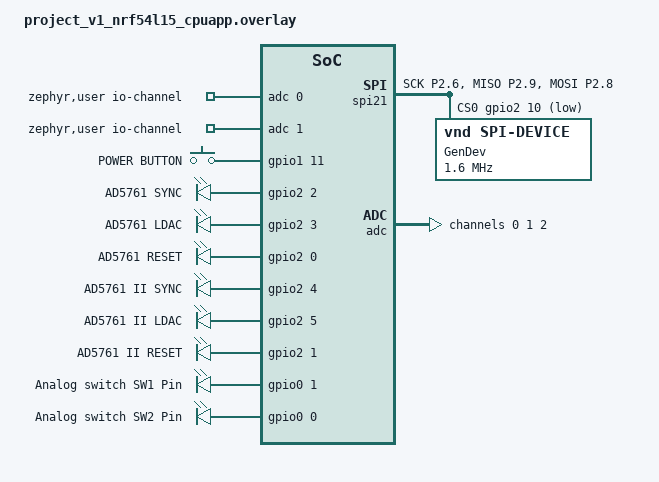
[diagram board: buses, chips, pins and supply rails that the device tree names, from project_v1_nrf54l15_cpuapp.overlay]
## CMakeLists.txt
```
cmake_minimum_required(VERSION 3.20.0)
find_package(Zephyr REQUIRED HINTS $ENV{ZEPHYR_BASE})

project(xiao_ads1220)

target_sources(app PRIVATE src/main.c)

zephyr_library_sources(src/ads1220.c)
```

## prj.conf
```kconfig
CONFIG_SPI=y
CONFIG_GPIO=y
CONFIG_CBPRINTF_FP_SUPPORT=y   # only if you printk/printf floats
```

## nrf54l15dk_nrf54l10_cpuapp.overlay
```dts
/ {
	leds {
		led_00: led00 {
			gpios = <&gpio0 0 GPIO_ACTIVE_HIGH>;
			label = "LED 00";
		};

		led_01: led01 {
			gpios = <&gpio0 1 GPIO_ACTIVE_HIGH>;
			label = "LED 01";
		};
	};
};

&pinctrl {
	i2c1_default: i2c1_default {
		group1 {
			psels = <NRF_PSEL(TWIM_SDA, 1, 12)>,
				<NRF_PSEL(TWIM_SCL, 1, 11)>;
		};
	};

	i2c1_sleep: i2c1_sleep {
		group1 {
			psels = <NRF_PSEL(TWIM_SDA, 1, 12)>,
				<NRF_PSEL(TWIM_SCL, 1, 11)>;
			low-power-enable;
		};
	};
};

/ {
	aliases {
		i2c1 = &i2c20;  // Creating an alias for easy referencing if needed
	};
};

/* Enable I2C and configure pins */
&i2c20 {
	compatible = "nordic,nrf-twim";
	status = "okay";
	clock-frequency = <100000>;  // 100kHz standard clock frequency
	pinctrl-0 = <&i2c1_default>;
	pinctrl-1 = <&i2c1_sleep>;
	pinctrl-names = "default", "sleep";

	lmp91000: lmp91000@48 {
		compatible = "i2c-device";
		reg = <0x48>;
	};
};

&spi20 {
	status = "disabled";
};

&uart20 {
	status = "disabled";
};
```

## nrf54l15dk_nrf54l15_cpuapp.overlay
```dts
/ {
	zephyr,user {
		io-channels = <&adc 0>, <&adc 1>;
	};

	aliases {
		spi-controller = &spi21;
	};
	
	leds {
        ad5761_sync: ad5761sync {
            gpios = <&gpio1 11 GPIO_ACTIVE_HIGH>;
            label = "AD5761 SYNC";
        };

		ad5761_ldac: ad5761ldac {
            gpios = <&gpio1 9 GPIO_ACTIVE_HIGH>;
            label = "AD5761 LDAC";
		};

		ad5761_reset: ad5761reset {
            gpios = <&gpio1 10 GPIO_ACTIVE_HIGH>;
            label = "AD5761 RESET";
		};

		ad5761_sync_ii: ad5761sync_ii {
            gpios = <&gpio0 2 GPIO_ACTIVE_HIGH>;
            label = "AD5761 II SYNC";
        };

		ad5761_ldac_ii: ad5761ldac_ii {
            gpios = <&gpio0 3 GPIO_ACTIVE_HIGH>;
            label = "AD5761 II LDAC";
		};

		ad5761_reset_ii: ad5761reset_ii {
            gpios = <&gpio0 4 GPIO_ACTIVE_HIGH>;
            label = "AD5761 II RESET";
		};
    };
};

&led0 {
	status = "disabled";
};

&led1 {
	status = "disabled";
};

&button0 {
	status = "disabled";
};

// &button3 {
// 	status = "disabled";
// };

&pinctrl {
	spi21_default: spi21_default {
		group1 {
			psels = <NRF_PSEL(SPIM_SCK, 2, 6)>,
					<NRF_PSEL(SPIM_MISO, 2, 9)>,
					<NRF_PSEL(SPIM_MOSI, 2, 8)>;
		};
	};

	spi21_sleep: spi21_sleep {
		group1 {
			psels = <NRF_PSEL(SPIM_SCK, 2, 6)>;
		};
	};
};

&spi21 {
	compatible = "nordic,nrf-spim";
	status = "okay";
	pinctrl-0 = <&spi21_default>;
	pinctrl-1 = <&spi21_sleep>;
	pinctrl-names = "default", "sleep";
	cs-gpios = <&gpio2 10 GPIO_ACTIVE_LOW>;

	gendev: gendev@0 {
		compatible = "vnd,spi-device";
		reg = <0>;
		spi-max-frequency = <1600000>;
		label = "GenDev";
	};
};

&adc {
	#address-cells = <1>;
	#size-cells = <0>;
    status = "okay";

    // Drain voltage VDS
    channel@0 {
		reg = <0>;
		zephyr,gain = "ADC_GAIN_1_4";
		zephyr,reference = "ADC_REF_EXTERNAL0";
		zephyr,acquisition-time = <ADC_ACQ_TIME_DEFAULT>;
		zephyr,input-positive = <NRF_SAADC_AIN7>;	/* P1.14 */
		// zephyr,input-negative = <NRF_SAADC_AIN2>;	/* P1.06 */
		zephyr,resolution = <12>;
	};

    // Transimpedance ID to voltage
    channel@1 {
        reg = <1>;
        zephyr,gain = "ADC_GAIN_1_4";
        zephyr,reference = "ADC_REF_EXTERNAL0";
        zephyr,acquisition-time = <ADC_ACQ_TIME_DEFAULT>;
        zephyr,input-positive = <NRF_SAADC_AIN6>;       /* P1.13 */
        zephyr,resolution = <12>;
    };

    // Battery sense
    channel@2 {
        reg = <2>;
        zephyr,gain = "ADC_GAIN_1_4";
        zephyr,reference = "ADC_REF_EXTERNAL0";
        zephyr,acquisition-time = <ADC_ACQ_TIME_DEFAULT>;
        zephyr,input-positive = <NRF_SAADC_AIN5>;    /* P1.12 */
        zephyr,resolution = <12>;
    };
};

// &uart20 {
// 	status = "disabled";
// };

// &spi00 {
// 	status = "disabled";
// };
```

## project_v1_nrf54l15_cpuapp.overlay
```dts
/ {
	zephyr,user {
		io-channels = <&adc 0>, <&adc 1>;
	};

	aliases {
		spi-controller = &spi21;
	};

	buttons {
		power_button: powerbutton {
			gpios = <&gpio1 11 GPIO_ACTIVE_HIGH>;
			label = "POWER BUTTON";
		};
	};
	
	leds {
        ad5761_sync: ad5761sync {
            gpios = <&gpio2 2 GPIO_ACTIVE_HIGH>;
            label = "AD5761 SYNC";
        };

		ad5761_ldac: ad5761ldac {
            gpios = <&gpio2 3 GPIO_ACTIVE_HIGH>;
            label = "AD5761 LDAC";
		};

		ad5761_reset: ad5761reset {
            gpios = <&gpio2 0 GPIO_ACTIVE_HIGH>;
            label = "AD5761 RESET";
		};

		ad5761_sync_ii: ad5761sync_ii {
            gpios = <&gpio2 4 GPIO_ACTIVE_HIGH>;
            label = "AD5761 II SYNC";
        };

		ad5761_ldac_ii: ad5761ldac_ii {
            gpios = <&gpio2 5 GPIO_ACTIVE_HIGH>;
            label = "AD5761 II LDAC";
		};

		ad5761_reset_ii: ad5761reset_ii {
            gpios = <&gpio2 1 GPIO_ACTIVE_HIGH>;
            label = "AD5761 II RESET";
		};

		sw_in_1: sw_in1 {
			gpios = <&gpio0 1 GPIO_ACTIVE_HIGH>;
			label = "Analog switch SW1 Pin";
		};

		sw_in_2: sw_in2 {
			gpios = <&gpio0 0 GPIO_ACTIVE_HIGH>;
			label = "Analog switch SW2 Pin";
		};
    };
};

&led0 {
	status = "disabled";
};

&led1 {
	status = "disabled";
};

&led2 {
	status = "disabled";
};

&led3 {
	status = "disabled";
};

&button0 {
	status = "disabled";
};

&button1 {
	status = "disabled";
};

&button2 {
	status = "disabled";
};

&button3 {
	status = "disabled";
};

&pinctrl {
	spi21_default: spi21_default {
		group1 {
			psels = <NRF_PSEL(SPIM_SCK, 2, 6)>,
					<NRF_PSEL(SPIM_MISO, 2, 9)>,
					<NRF_PSEL(SPIM_MOSI, 2, 8)>;
		};
	};

	spi21_sleep: spi21_sleep {
		group1 {
			psels = <NRF_PSEL(SPIM_SCK, 2, 6)>;
		};
	};
};

&spi21 {
	compatible = "nordic,nrf-spim";
	status = "okay";
	pinctrl-0 = <&spi21_default>;
	pinctrl-1 = <&spi21_sleep>;
	pinctrl-names = "default", "sleep";
	cs-gpios = <&gpio2 10 GPIO_ACTIVE_LOW>;

	gendev: gendev@0 {
		compatible = "vnd,spi-device";
		reg = <0>;
		spi-max-frequency = <1600000>;
		label = "GenDev";
	};
};

&adc {
	#address-cells = <1>;
	#size-cells = <0>;
    status = "okay";

    // Ids
    channel@0 {
		reg = <0>;
		zephyr,gain = "ADC_GAIN_1_4";
		zephyr,reference = "ADC_REF_EXTERNAL0";
		zephyr,acquisition-time = <ADC_ACQ_TIME_DEFAULT>;
		zephyr,input-positive = <NRF_SAADC_AIN6>;	/* P1.13 */
		// zephyr,input-negative = <NRF_SAADC_AIN2>;	/* P1.06 */
		zephyr,resolution = <12>;
	};

    // Drain Voltage VD
    channel@1 {
        reg = <1>;
        zephyr,gain = "ADC_GAIN_1_4";
        zephyr,reference = "ADC_REF_EXTERNAL0";
        zephyr,acquisition-time = <ADC_ACQ_TIME_DEFAULT>;
        zephyr,input-positive = <NRF_SAADC_AIN5>;       /* P1.12 */
        zephyr,resolution = <12>;
    };

    // Gate Voltage VG
    channel@2 {
        reg = <2>;
        zephyr,gain = "ADC_GAIN_1_4";
        zephyr,reference = "ADC_REF_EXTERNAL0";
        zephyr,acquisition-time = <ADC_ACQ_TIME_DEFAULT>;
        zephyr,input-positive = <NRF_SAADC_AIN7>;    /* P1.14 */
        zephyr,resolution = <12>;
    };
};

// &uart20 {
// 	status = "disabled";
// };

&spi00 {
	status = "disabled";
};
```

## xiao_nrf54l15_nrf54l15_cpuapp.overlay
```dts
/* For more help, browse the devicetree documentation at https://docs.zephyrproject.org/latest/build/dts/index.html
 * You can also visit the nRF DeviceTree extension documentation at https://docs.nordicsemi.com/bundle/nrf-connect-vscode/page/guides/ncs_configure_app.html#devicetree-support-in-the-extension
 */

&spi00 {
    status = "okay";
    cs-gpios = <&gpio2 8 GPIO_ACTIVE_LOW>;

    ads1220: ads1220@0 {
        compatible = "ti,ads1220";
        reg = <0>;
        spi-max-frequency = <4000000>;
        drdy-gpios = <&gpio1 10 GPIO_ACTIVE_LOW>;
    };
};

&uart21 {
	status = "disabled";
};

&i2c22 {
	status = "disabled";
};

&gpiote20 {
	status = "okay";
};
```

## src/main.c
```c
/*
 * Copyright (c) 2016 Intel Corporation
 *
 * SPDX-License-Identifier: Apache-2.0
 */

#include <stdio.h>
#include <zephyr/kernel.h>
#include <zephyr/drivers/gpio.h>
#include "ads1220.h"

/* 1000 msec = 1 sec */
#define SLEEP_TIME_MS   200

/* The devicetree node identifier for the "led0" alias. */
#define LED0_NODE DT_ALIAS(led0)

static const struct gpio_dt_spec led = GPIO_DT_SPEC_GET(LED0_NODE, gpios);

static struct ads1220 adc = ADS1220_DT_SPEC_GET(DT_NODELABEL(ads1220));

// static struct spi_dt_spec spispec = SPI_DT_SPEC_GET(DT_NODELABEL(ads1220), ADS1220_SPI_OPERATION, 0);
// uint8_t ctrl;

// uint8_t tx_buffer[3] = {0x00, 0x00, 0x00};
// uint8_t rx_buffer[3];

// void spi_readback_register(uint8_t address){
//     struct spi_buf tx_spi_buf		= {.buf = tx_buffer, .len = 3};
//     struct spi_buf_set tx_spi_buf_set 	= {.buffers = &tx_spi_buf, .count = 1};
//     struct spi_buf rx_spi_bufs 		= {.buf = rx_buffer, .len = 3};
//     struct spi_buf_set rx_spi_buf_set	= {.buffers = &rx_spi_bufs, .count = 1};
    
//     tx_buffer[0] = address;
//     tx_buffer[1] = 0x00;
//     tx_buffer[2] = 0x00;

//     int err;

//     printk("--------");
//     printk("Start reading back address: 0x%02X\n", address);

//     err = spi_write_dt(&spispec, &tx_spi_buf_set);
//     err = spi_read_dt(&spispec, &rx_spi_buf_set);
//     printk("SPI transmitted! Received: 0x%02X\t0x%02X\t0x%02X\n", rx_buffer[0], rx_buffer[1], rx_buffer[2]);
// }

int main(void)
{
        int ret;
        bool led_state = true;

        if (!gpio_is_ready_dt(&led)) {
        return 0;
        }

        ret = gpio_pin_configure_dt(&led, GPIO_OUTPUT_ACTIVE);
        if (ret < 0) {
        return 0;
        }

        ret = ads1220_init(&adc);
 
	if (ret != 0) {
		printf("ADS1220 init failed: %d\n", ret);
		return 0;
	}

        ads1220_set_compare_channels(&adc, ADS1220_MUX_0_1);  /* AIN0 - AIN1 */
	ads1220_set_gain(&adc, ADS1220_GAIN_1);
	ads1220_set_data_rate(&adc, ADS1220_DR_LVL_0);        /* 20 SPS in normal mode */

        while (1) {
                int32_t raw;
		float mv;

                ret = ads1220_get_raw_data(&adc, &raw);
		if (ret == 0) {
			ret = ads1220_get_voltage_mv(&adc, &mv);
		}
 
		if (ret == 0) {
			printf("raw: %d  voltage: %.4f mV\n", raw, (double)mv);
		} else {
			printf("read error: %d\n", ret);
		}

                // read_reg(&adc, ADS1220_REG_1, &ctrl);
                // printf("Read register data: 0x%02X\t\t", ctrl);

                ret = gpio_pin_toggle_dt(&led);
                if (ret < 0) {
                return 0;
                }

                led_state = !led_state;
                printf("LED state: %s\n", led_state ? "ON" : "OFF");

                k_msleep(SLEEP_TIME_MS);
        }
        return 0;
}
```

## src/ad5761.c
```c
#include "ad5761.h"
#include "adc.h"
#include <zephyr/kernel.h>
#include <stdio.h>

/*
    SPI_MODE_CPHA: set clock phase, in order to sync correct CLK sequence

*/

#define SPIOP       SPI_MODE_CPHA | SPI_WORD_SET(8) | SPI_TRANSFER_MSB
// #define AD5761_SYNC_NODE        DT_NODELABEL(ad5761_sync)
// #define AD5761_LDAC_NODE        DT_NODELABEL(ad5761_ldac)
// #define AD5761_RESET_NODE       DT_NODELABEL(ad5761_reset)
// //#define AD5761_ALERT_NODE     DT_NODELABEL
// //#define AD5761_CLEAR_NODE     DT_NODELABEL
// #define AD5761_SYNC_NODE_II     DT_NODELABEL(ad5761_sync_ii)
// #define AD5761_LDAC_NODE_II     DT_NODELABEL(ad5761_ldac_ii)

struct spi_dt_spec spispec = SPI_DT_SPEC_GET(DT_NODELABEL(gendev), SPIOP, 0);

uint8_t tx_buffer[3] = {0x00, 0x00, 0x00};
uint8_t rx_buffer[3];

uint16_t dac_value_dummy;

// struct spi_buf tx_spi_buf		= {.buf = (void *)&tx_buffer, .len = 1};
struct spi_buf tx_spi_buf		= {.buf = tx_buffer, .len = sizeof(tx_buffer)};
struct spi_buf_set tx_spi_buf_set 	= {.buffers = &tx_spi_buf, .count = 1};
struct spi_buf rx_spi_bufs 		= {.buf = rx_buffer, .len = sizeof(rx_buffer)};
struct spi_buf_set rx_spi_buf_set	= {.buffers = &rx_spi_bufs, .count = 1};

// static const struct gpio_dt_spec ad5761_sync_spec = GPIO_DT_SPEC_GET(AD5761_SYNC_NODE, gpios);
// static const struct gpio_dt_spec ad5761_ldac_spec = GPIO_DT_SPEC_GET(AD5761_LDAC_NODE, gpios);
// static const struct gpio_dt_spec ad5761_reset_spec = GPIO_DT_SPEC_GET(AD5761_RESET_NODE, gpios);

// static const struct gpio_dt_spec ad5761_sync_spec_ii = GPIO_DT_SPEC_GET(AD5761_SYNC_NODE_II, gpios);
// static const struct gpio_dt_spec ad5761_ldac_spec_ii = GPIO_DT_SPEC_GET(AD5761_LDAC_NODE_II, gpios);

// static const struct ad5761_device_str ad5761_dev_i = {
//     .sync_pin = ad5761_sync_spec,
//     .ldac_pin = ad5761_ldac_spec,
//     .reset_pin = ad5761_reset_spec
// };

void ad5761_init(const struct ad5761_device_str *ad5761_dev){
    // gpio_pin_configure_dt(&ad5761_sync_spec, GPIO_OUTPUT);
    // gpio_pin_configure_dt(&ad5761_ldac_spec, GPIO_OUTPUT);
    // gpio_pin_configure_dt(&ad5761_reset_spec, GPIO_OUTPUT);
    gpio_pin_configure_dt(&ad5761_dev->sync_pin, GPIO_OUTPUT);
    gpio_pin_configure_dt(&ad5761_dev->ldac_pin, GPIO_OUTPUT);
    gpio_pin_configure_dt(&ad5761_dev->reset_pin, GPIO_OUTPUT);

    gpio_pin_set_dt(&ad5761_dev->ldac_pin, 1);
    gpio_pin_set_dt(&ad5761_dev->reset_pin, 1);
    printk("DAC init!\n");
}

void ad5761_ldac_update(const struct ad5761_device_str *ad5761_dev){
    gpio_pin_set_dt(&ad5761_dev->ldac_pin, 0);
    k_busy_wait(1);
    gpio_pin_set_dt(&ad5761_dev->ldac_pin, 1);
}

// void ad5761_reset(){
//     gpio_pin_set_dt(&ad5761_reset_spec, 0);
//     k_busy_wait(1);
//     gpio_pin_set_dt(&ad5761_reset_spec, 1);
// }

/*
    Should not initialize a communication longer than 20 SCLKs
    Because continuous SCLKs is limited (cannot config this...)

*/

void ad5761_readback_register(uint8_t address){
    struct spi_buf tx_spi_buf		= {.buf = tx_buffer, .len = 3};
    struct spi_buf_set tx_spi_buf_set 	= {.buffers = &tx_spi_buf, .count = 1};
    struct spi_buf rx_spi_bufs 		= {.buf = rx_buffer, .len = 3};
    struct spi_buf_set rx_spi_buf_set	= {.buffers = &rx_spi_bufs, .count = 1};
    
    tx_buffer[0] = address;
    tx_buffer[1] = 0x00;
    tx_buffer[2] = 0x00;

    int err;

    printk("--------");
    printk("Start reading back address: 0x%02X\n", address);

    err = spi_write_dt(&spispec, &tx_spi_buf_set);
    err = spi_read_dt(&spispec, &rx_spi_buf_set);
    printk("SPI transmitted! Received: 0x%02X\t0x%02X\t0x%02X\n", rx_buffer[0], rx_buffer[1], rx_buffer[2]);
}

void ad5761_two_cycle_write(uint8_t tx_data_0, uint8_t tx_data_1){
    struct spi_buf tx_spi_buf		= {.buf = tx_buffer, .len = 2};
    struct spi_buf_set tx_spi_buf_set 	= {.buffers = &tx_spi_buf, .count = 1};
    // struct spi_buf rx_spi_bufs 		= {.buf = rx_buffer, .len = 1};
    // struct spi_buf_set rx_spi_buf_set	= {.buffers = &rx_spi_bufs, .count = 1};

    int err;

    // tx_buffer[0] = (data >> 8) & 0xFF;  
    // tx_buffer[1] = data & 0xFF;  

    tx_buffer[0] = tx_data_0;  
    tx_buffer[1] = tx_data_1;  

    // printk("--------");
    // printk("Transmitted: 0x%02X\t0x%02X\n", tx_buffer[0], tx_buffer[1]);

    err = spi_write_dt(&spispec, &tx_spi_buf_set);

}

void ad5761_one_cycle_write(uint8_t data){
    struct spi_buf tx_spi_buf		= {.buf = tx_buffer, .len = 1};
    struct spi_buf_set tx_spi_buf_set 	= {.buffers = &tx_spi_buf, .count = 1};
    // struct spi_buf rx_spi_bufs 		= {.buf = rx_buffer, .len = 1};
    // struct spi_buf_set rx_spi_buf_set	= {.buffers = &rx_spi_bufs, .count = 1};

    int err;

    tx_buffer[0] = data;

    // printk("--------");
    // printk("Transmitted: 0x%02X\n", data);

    err = spi_write_dt(&spispec, &tx_spi_buf_set);

}

void ad5761_two_cycle_read(){
    // struct spi_buf tx_spi_buf		= {.buf = tx_buffer, .len = 1};
    // struct spi_buf_set tx_spi_buf_set 	= {.buffers = &tx_spi_buf, .count = 1};
    struct spi_buf rx_spi_bufs 		= {.buf = rx_buffer, .len = 2};
    struct spi_buf_set rx_spi_buf_set	= {.buffers = &rx_spi_bufs, .count = 1};

    int err;
    err = spi_read_dt(&spispec, &rx_spi_buf_set);

    printk("SPI transmitted! Received: 0x%02X\t0x%02X\n", rx_buffer[0], rx_buffer[1]);
    printk("\n");

}

void ad5761_one_cycle_read(){
    // struct spi_buf tx_spi_buf		= {.buf = tx_buffer, .len = 1};
    // struct spi_buf_set tx_spi_buf_set 	= {.buffers = &tx_spi_buf, .count = 1};
    struct spi_buf rx_spi_bufs 		= {.buf = rx_buffer, .len = 1};
    struct spi_buf_set rx_spi_buf_set	= {.buffers = &rx_spi_bufs, .count = 1};

    int err;
    err = spi_read_dt(&spispec, &rx_spi_buf_set);

    printk("SPI transmitted! Received: 0x%02X\n\n", rx_buffer[0]);
}

void ad5761_one_cycle(uint8_t data){
    struct spi_buf tx_spi_buf		= {.buf = tx_buffer, .len = 1};
    struct spi_buf_set tx_spi_buf_set 	= {.buffers = &tx_spi_buf, .count = 1};
    struct spi_buf rx_spi_bufs 		= {.buf = rx_buffer, .len = 1};
    struct spi_buf_set rx_spi_buf_set	= {.buffers = &rx_spi_bufs, .count = 1};

    int err;

    tx_buffer[0] = data;

    printk("--------");
    printk("Tranismitted: 0x%02X\n", data);

    err = spi_transceive_dt(&spispec, &tx_spi_buf_set, &rx_spi_buf_set);

    printk("SPI transmitted! Received: 0x%02X\n", rx_buffer[0]);
}  

//////// Readback format ////////
        /*
        4-bit:  ---0 (first 3-bit don't care)
        4-bit:  1010: Readback input register   (0x0A)
                1011: Readback DAC register     (0x0B)
                1100: Readback control register (0x0C)
        16-bit data: 0000 0000 (don't care)
        */

void ad5761_write_register(uint8_t address, uint16_t data){
    struct spi_buf tx_spi_buf		= {.buf = tx_buffer, .len = 3};
    struct spi_buf_set tx_spi_buf_set 	= {.buffers = &tx_spi_buf, .count = 1};

    tx_buffer[0] = address;
    tx_buffer[1] = (data >> 8) & 0xFF;  
    tx_buffer[2] = data & 0xFF;       

    int err;

    printk("--------");
    printk("Start writing address: 0x%02X\n", address);

    err = spi_write_dt(&spispec, &tx_spi_buf_set);
}

void ad5761_24bit_transceive(const struct ad5761_device_str *ad5761_dev, uint8_t tx_data_0, uint8_t tx_data_1, uint8_t tx_data_2){
    gpio_pin_set_dt(&ad5761_dev->sync_pin, 0);
    ad5761_one_cycle(tx_data_0);
    ad5761_one_cycle(tx_data_1);
    ad5761_one_cycle(tx_data_2);
    gpio_pin_set_dt(&ad5761_dev->sync_pin, 1);
}

void ad5761_24bit_read(const struct ad5761_device_str *ad5761_dev){
    gpio_pin_set_dt(&ad5761_dev->sync_pin, 0);
    ad5761_two_cycle_read();
    ad5761_one_cycle_read();
    gpio_pin_set_dt(&ad5761_dev->sync_pin, 1);
}

void ad5761_24bit_write(const struct ad5761_device_str *ad5761_dev, uint8_t tx_data_0, uint8_t tx_data_1, uint8_t tx_data_2){
    gpio_pin_set_dt(&ad5761_dev->sync_pin, 0);
    ad5761_two_cycle_write(tx_data_0, tx_data_1);
    ad5761_one_cycle_write(tx_data_2);
    gpio_pin_set_dt(&ad5761_dev->sync_pin, 1);
}

void ad5761_readback_input_register(const struct ad5761_device_str *ad5761_dev){
    ad5761_24bit_write(ad5761_dev, 0x0A, 0x00, 0x00);
    ad5761_24bit_read(ad5761_dev);
}

void ad5761_readback_DAC_register(const struct ad5761_device_str *ad5761_dev){
    ad5761_24bit_write(ad5761_dev, 0x0B, 0x00, 0x00);
    ad5761_24bit_read(ad5761_dev);
}

void ad5761_readback_control_register(const struct ad5761_device_str *ad5761_dev){
    ad5761_24bit_write(ad5761_dev, 0x0C, 0x00, 0x00);
    ad5761_24bit_read(ad5761_dev);
}

void ad5761_software_full_reset(const struct ad5761_device_str *ad5761_dev){
    ad5761_24bit_write(ad5761_dev, 0x0F, 0x00, 0x00);   // Software full reset
    // ad5761_24bit_write(ad5761_dev, 0x04, 0x00, 0xC3);   // Write to control register, B2C = 1, range 0 to +5V
    ad5761_24bit_write(ad5761_dev, 0x04, 0x00, 0xC2);   // Write to control register, B2C = 1, range -5V to +5V
    ad5761_generate_output_signal(ad5761_dev, 0);
}

double ad5761_convert_to_mV(uint16_t value, uint16_t vref_n_mV, uint16_t vref_p_mV){
    double dac_mV = (double)value/65536*(vref_p_mV - vref_n_mV);

    return dac_mV;
}

void ad5761_generate_output_signal(const struct ad5761_device_str *ad5761_dev, uint16_t value){
    uint8_t byte_0 = (value >> 8) & 0xFF;  
    uint8_t byte_1 = value & 0xFF;     

    ad5761_24bit_write(ad5761_dev, 0x01, byte_0, byte_1);
    ad5761_ldac_update(ad5761_dev);

    double dac_mV = ad5761_convert_to_mV(value, 0, 2620);
    // printk("DAC:\tChannel: %u\tSet value (mV): %.2f\n", ad5761_dev->channel, dac_mV);
    // printk("DAC:\tSet value: %u\n", value);
}

void ad5761_print_dac_value(const struct ad5761_device_str *ad5761_dev, uint16_t value){
    double dac_mV = ad5761_convert_to_mV(value, 0, 2620);
    printk("DAC:\tChannel: %u\tSet value (mV): %.2f\n", ad5761_dev->channel, dac_mV);
    printk("DAC:\tSet value: %u\n", value);
}

void ad5761_generate_triangular(const struct ad5761_device_str *ad5761_dev, uint16_t start_value, uint16_t stop_value, uint32_t delay_us, uint16_t step, bool cycle){  
    uint16_t value = start_value;
    if(start_value < stop_value){
        while(value < stop_value){
            ad5761_generate_output_signal(ad5761_dev, value);
            value += step;
            k_busy_wait(delay_us);
            // adc_read_channel_mV(0);         /* Put this in state machine */
            // adc_read_channel_mV(1);
            // adc_read_channel_mV(2);
        }

        if(cycle == 1){
            while(value > start_value){
                ad5761_generate_output_signal(ad5761_dev, value);
                value -= step;
            k_busy_wait(delay_us);
            // adc_read_channel_mV(0);         /* Put this in state machine */
            // adc_read_channel_mV(1);
            // adc_read_channel_mV(2);
            }
        }
    }

    if(start_value > stop_value){
        while(value > stop_value){
            ad5761_generate_output_signal(ad5761_dev, value);
            value -= step;
            k_busy_wait(delay_us);
        }

        if(cycle == 1){
            while(value < start_value){
                ad5761_generate_output_signal(ad5761_dev, value);
                value += step;
            k_busy_wait(delay_us);
            }
        }
    }
}

void ad5761_fsm_step_output(const struct ad5761_device_str *dev,
                struct dac_output_fsm *fsm)
{
    if (fsm->state != DAC_STATE_ON) {
        if(fsm->bipolar == false){
            fsm->value = 0;
        } else {
            fsm->value = 32768;
        }
        ad5761_generate_output_signal(dev, fsm->value);
        return;
    }

    ad5761_generate_output_signal(dev, fsm->value);

    fsm->value = fsm->start + fsm->step * fsm->cycle_counter;
    fsm->state = DAC_STATE_OFF;
}

void ad5761_fsm_step_triangle(const struct ad5761_device_str *dev,
                struct dac_fsm *fsm)
{
    if (fsm->state != DAC_STATE_ON) {
        if(fsm->bipolar == false){
            fsm->value = 0;
        } else {
            fsm->value = 32768;
        }

        ad5761_generate_output_signal(dev, fsm->value);
        return;
    }

    ad5761_generate_output_signal(dev, fsm->value);

    if (fsm->direction == DAC_DIR_UP) {
        if (fsm->value + fsm->step >= fsm->stop) {
            if (fsm->backward == true){
                fsm->value = fsm->stop;
                fsm->direction = DAC_DIR_DOWN;
            } else {
                fsm->value = fsm->start;
            }
        } else {
            fsm->value += fsm->step;
        }
    } else {
        if (fsm->value <= fsm->start + fsm->step) {
            // if (fsm->continuous) {
            if (fsm->cycle_counter < fsm->cycles - 1) {
                fsm->value = fsm->start;
                fsm->direction = DAC_DIR_UP;
                fsm->cycle_counter += 1;
            } else {
                fsm->state = DAC_STATE_OFF;
                fsm->cycle_counter = 0;
            }
        } else {
            fsm->value -= fsm->step;
        }
    }
}

void ad5761_fsm_oect_output_curve(const struct ad5761_device_str *dev_1, 
                struct dac_fsm *fsm_1,
                const struct ad5761_device_str *dev_2,
                struct dac_output_fsm *fsm_2)
{
    fsm_2->state = fsm_1->state;
    fsm_2->cycle_counter = fsm_1->cycle_counter;

    ad5761_fsm_step_triangle(dev_1, fsm_1);
    ad5761_fsm_step_output(dev_2, fsm_2);
}
```

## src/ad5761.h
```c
#ifndef AD5761_H
#define AD5761_H

#include <zephyr/device.h>
#include <zephyr/drivers/spi.h>
#include <zephyr/drivers/gpio.h>

#define AD5761_SYNC_NODE        DT_NODELABEL(ad5761_sync)
#define AD5761_LDAC_NODE        DT_NODELABEL(ad5761_ldac)
#define AD5761_RESET_NODE       DT_NODELABEL(ad5761_reset)
//#define AD5761_ALERT_NODE     DT_NODELABEL
//#define AD5761_CLEAR_NODE     DT_NODELABEL
#define AD5761_SYNC_NODE_II     DT_NODELABEL(ad5761_sync_ii)
#define AD5761_LDAC_NODE_II     DT_NODELABEL(ad5761_ldac_ii)

static const struct gpio_dt_spec ad5761_sync_spec = GPIO_DT_SPEC_GET(AD5761_SYNC_NODE, gpios);
static const struct gpio_dt_spec ad5761_ldac_spec = GPIO_DT_SPEC_GET(AD5761_LDAC_NODE, gpios);
static const struct gpio_dt_spec ad5761_reset_spec = GPIO_DT_SPEC_GET(AD5761_RESET_NODE, gpios);

static const struct gpio_dt_spec ad5761_sync_spec_ii = GPIO_DT_SPEC_GET(AD5761_SYNC_NODE_II, gpios);
static const struct gpio_dt_spec ad5761_ldac_spec_ii = GPIO_DT_SPEC_GET(AD5761_LDAC_NODE_II, gpios);

struct ad5761_device_str{
    struct gpio_dt_spec sync_pin;
    struct gpio_dt_spec ldac_pin;
    struct gpio_dt_spec reset_pin;
    uint8_t channel;
};

static const struct ad5761_device_str ad5761_dev_i = {
    .sync_pin = ad5761_sync_spec,
    .ldac_pin = ad5761_ldac_spec,
    .reset_pin = ad5761_reset_spec,
    .channel = 1,
};

static const struct ad5761_device_str ad5761_dev_ii = {
    .sync_pin = ad5761_sync_spec_ii,
    .ldac_pin = ad5761_ldac_spec_ii,
    .reset_pin = ad5761_reset_spec,
    .channel = 2,
};

typedef enum {
    DAC_STATE_ON,
    DAC_STATE_OFF,
} dac_state_t;

typedef enum {
    DAC_DIR_UP,
    DAC_DIR_DOWN,
} dac_dir_t;

struct dac_fsm {
    dac_state_t state;
    dac_dir_t direction;
    uint16_t value;
    uint16_t start;
    uint16_t stop;
    uint16_t step;
    bool continuous;
    uint16_t cycles;
    uint16_t cycle_counter;
    bool backward;
    bool bipolar;
};

struct dac_output_fsm {
    dac_state_t state;
    dac_dir_t direction;
    uint16_t value;
    uint16_t start;
    uint16_t stop;
    uint16_t step;
    uint16_t cycles;
    uint16_t cycle_counter;
    bool backward;
    bool bipolar;
};

void ad5761_init(const struct ad5761_device_str *ad5761_dev);
void ad5761_ldac_update(const struct ad5761_device_str *ad5761_dev);
void ad5761_reset(void);

void ad5761_readback_register(uint8_t address);
void ad5761_write_register(uint8_t address, uint16_t data);

void ad5761_readback_input_register(const struct ad5761_device_str *ad5761_dev);
void ad5761_readback_DAC_register(const struct ad5761_device_str *ad5761_dev);
void ad5761_readback_control_register(const struct ad5761_device_str *ad5761_dev);
void ad5761_software_full_reset(const struct ad5761_device_str *ad5761_dev);

void ad5761_one_cycle(uint8_t data);
void ad5761_one_cycle_write(uint8_t data);
void ad5761_one_cycle_read(void);
void ad5761_two_cycle_read(void);
void ad5761_two_cycle_write(uint8_t tx_data_0, uint8_t tx_data_1);

void ad5761_24bit_read(const struct ad5761_device_str *ad5761_dev);
void ad5761_24bit_write(const struct ad5761_device_str *ad5761_dev, uint8_t tx_data_0, uint8_t tx_data_1, uint8_t tx_data_2);
void ad5761_24bit_transceive(const struct ad5761_device_str *ad5761_dev, uint8_t tx_data_0, uint8_t tx_data_1, uint8_t tx_data_2);

void ad5761_generate_output_signal(const struct ad5761_device_str *ad5761_dev, uint16_t value);
void ad5761_generate_triangular(const struct ad5761_device_str *ad5761_dev, uint16_t start_value, uint16_t stop_value, uint32_t delay_us, uint16_t step, bool cycle);

void ad5761_print_dac_value(const struct ad5761_device_str *ad5761_dev, uint16_t value);

void ad5761_fsm_step_triangle(const struct ad5761_device_str *dev, struct dac_fsm *fsm);
void ad5761_fsm_step_output(const struct ad5761_device_str *dev, struct dac_output_fsm *fsm);
void ad5761_fsm_oect_output_curve(const struct ad5761_device_str *dev_1, 
                struct dac_fsm *fsm_1,
                const struct ad5761_device_str *dev_2,
                struct dac_output_fsm *fsm_2);
#endif // AD5761_H
```

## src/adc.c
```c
#include "adc.h"
#include <zephyr/kernel.h>
#include <zephyr/pm/device.h>
#include <stdio.h>

#define ADC_FAST
// #define ADC_OLD_VERSION

// Old version: SEQUENCE_SAMPLE = 1
#define SEQUENCE_SAMPLE     64
#define ADC_NODE            DT_NODELABEL(adc)
#define NUM_CHANNELS        3

float adc_average = 0.0f;
float adc_ch0_average = 0.0f;
float adc_ch1_average = 0.0f;
float adc_ch2_average = 0.0f;
int adc_mV;
int adc_ch0_mV;
int adc_ch1_mV;
int adc_ch2_mV;
uint16_t window_len = 1;

static const struct device *adc_dev = DEVICE_DT_GET(ADC_NODE);
static const struct adc_channel_cfg channel_cfgs[] = {
    DT_FOREACH_CHILD_SEP(ADC_NODE, ADC_CHANNEL_CFG_DT, (,))
};

// Old version: channel_reading[SEQUENCE_SAMPLE]
uint16_t channel_reading[SEQUENCE_SAMPLE][NUM_CHANNELS];

const struct adc_sequence_options options = {
		.extra_samplings = SEQUENCE_SAMPLE - 1,
		.interval_us = 0,
	};

struct adc_sequence sequence = {
    .buffer = channel_reading,
    .buffer_size = sizeof(channel_reading),
    .resolution = 12,
    // .channels = BIT(channel_cfgs[index].channel_id),
    // .channels = BIT(channel_cfgs[0].channel_id) | BIT(channel_cfgs[1].channel_id) | BIT(channel_cfgs[2].channel_id),
    .channels = BIT(0) | BIT(1) | BIT(2),
    .calibrate = true,
    .options = &options,
};

void adc_init(void) {
    int err;

    for (int i = 0; i < ARRAY_SIZE(channel_cfgs); i++) {
        err = adc_channel_setup(adc_dev, &channel_cfgs[i]);
        if (err < 0) {
            printk("ADC channel %d setup failed (%d)\n", i, err);
        }
    }

    if (!device_is_ready(adc_dev)) {
        printf("ADC controller device %s not ready\n", adc_dev->name);
        return;
    }
    printf("ADC initialized!\n");
}

#ifdef ADC_TEST_CODE
void adc_read_channels(void)
{
    int err;
    int16_t buffer[64 * 2]; // 2 channels

    struct adc_sequence sequence = {
        .buffer = buffer,
        .buffer_size = sizeof(buffer),
        .resolution = 12,
        .channels = BIT(CH0) | BIT(CH1),
    };

    err = adc_read(adc_dev, &sequence);
    if (err < 0) {
        printk("ADC read error (%d)\n", err);
        return;
    }

    uint32_t sum_ch0 = 0, sum_ch1 = 0;

    for (int i = 0; i < 64; i++) {
        sum_ch0 += buffer[2*i];
        sum_ch1 += buffer[2*i + 1];
    }

    adc_avg_ch0 = sum_ch0 / 64;
    adc_avg_ch1 = sum_ch1 / 64;
}
#endif

#ifdef ADC_FAST
void adc_read_channel(){
    int err;
    // uint32_t adc_sum = 0;
    uint32_t adc_ch0_sum = 0;
    uint32_t adc_ch1_sum = 0;
    uint32_t adc_ch2_sum = 0;

    // const struct adc_sequence_options options = {
	// 	.extra_samplings = SEQUENCE_SAMPLE - 1,
	// 	.interval_us = 0,
	// };

    // struct adc_sequence sequence = {
    //     .buffer = channel_reading,
    //     .buffer_size = sizeof(channel_reading),
    //     .resolution = 12,
    //     // .channels = BIT(channel_cfgs[index].channel_id),
    //     // .channels = BIT(channel_cfgs[0].channel_id) | BIT(channel_cfgs[1].channel_id) | BIT(channel_cfgs[2].channel_id),
    //     .channels = BIT(channel_cfgs[0].channel_id) | BIT(channel_cfgs[1].channel_id) | BIT(channel_cfgs[1].channel_id),
    //     .calibrate = true,
	// 	.options = &options,
    // };

    // for (int i = 0; i < ARRAY_SIZE(channel_cfgs); i++) {
    //     err = adc_channel_setup(adc_dev, &channel_cfgs[i]);
    //     if (err < 0) {
    //         printk("ADC channel %d setup failed (%d)\n", i, err);
    //     }
    // }

    err = adc_read(adc_dev, &sequence);

    for (int i = 0; i < SEQUENCE_SAMPLE; i++) {
        // adc_sum += channel_reading[i];
        adc_ch0_sum += channel_reading[i][0];
        adc_ch1_sum += channel_reading[i][1];
        adc_ch2_sum += channel_reading[i][2];
    }

    #ifdef DEBUG_ADC_PRINT
    printk("Channel config %u\n", channel_cfgs[0].channel_id);
    printk("Channel config %u\n", channel_cfgs[1].channel_id);
    printk("Channel config %u\n", channel_cfgs[2].channel_id);

    for (int i = 0; i < NUM_CHANNELS; i++) {
        for(int j = 0; j < SEQUENCE_SAMPLE; j++){
            printk("Index %u\t%u: %u \n", i, j, channel_reading[j][i]);
        }
    }
    printk("----------------------------\n");
    #endif

    // adc_average = (float)adc_sum / SEQUENCE_SAMPLE;
    adc_ch0_average = (float)adc_ch0_sum / SEQUENCE_SAMPLE;
    adc_ch1_average = (float)adc_ch1_sum / SEQUENCE_SAMPLE;
    adc_ch2_average = (float)adc_ch2_sum / SEQUENCE_SAMPLE;
}
#endif

#ifdef ADC_OLD_VERSION
/* Read channel by selecting index */
void adc_read_channel(uint8_t index){
    int err;
    uint32_t adc_sum = 0;
    uint16_t count_adc = 0;

    struct adc_sequence sequence = {
        .buffer = channel_reading,
        .buffer_size = sizeof(channel_reading),
        .resolution = 12,
        .channels = BIT(channel_cfgs[index].channel_id),
        .calibrate = true,
    };

    err = adc_channel_setup(adc_dev, &channel_cfgs[index]);
    if (err < 0) {
        printk("Could not setup channel %d (%d)\n", index, err);
        return;
    }

    while (count_adc < window_len) {
        err = adc_read(adc_dev, &sequence);
        if (err < 0) {
            printk("Could not read channel %d (%d)\n", index, err);
            continue;
        }
        adc_sum += channel_reading[0];
        count_adc++;
    }

    adc_average = (float)adc_sum / window_len;
}
#endif

// change adc to mVoltage
int adc_to_mV(float adc, uint8_t gain){
    int value;
    value = adc/4096*gain*0.9f*1000.0f;  // 0.9: external reference voltage 0.9V, 4: gain = 1/4
    return (int)value;
}

void adc_read_channel_mV(uint8_t channel) {
    adc_read_channel();
    if(channel == 0){
        adc_mV = adc_to_mV(adc_ch0_average, 4);
    }
    else if (channel == 1)
    {
        adc_mV = adc_to_mV(adc_ch1_average, 4);
    }
    else if (channel == 2)
    {
        adc_mV = adc_to_mV(adc_ch2_average, 4);
    }

    // printk("ADC\tChannel: %u\t Read value: %.2f\t Voltage value: %umV\n", channel, (double)adc_average, adc_mV);
}

void adc_read_channel_mV_all() {
    adc_read_channel();
    adc_ch0_mV = adc_to_mV(adc_ch0_average, 4);
    adc_ch1_mV = adc_to_mV(adc_ch1_average, 4);
    adc_ch2_mV = adc_to_mV(adc_ch2_average, 4);
}

void disable_adc(void) {
    pm_device_action_run(adc_dev, PM_DEVICE_ACTION_SUSPEND);
}
```

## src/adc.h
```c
#ifndef ADC_H
#define ADC_H

#include <zephyr/device.h>
#include <zephyr/drivers/adc.h>
#include <zephyr/drivers/gpio.h>
#include <math.h>

extern int adc_mV;
extern int adc_ch0_mV;
extern int adc_ch1_mV;
extern int adc_ch2_mV;

void adc_init(void);
void adc_read_channel(void);
void disable_adc(void);
void adc_read_channel_mV(uint8_t channel);
void adc_read_channel_mV_all(void);

#endif // ADC_H
```

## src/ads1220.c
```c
/*
 * ADS1220 driver for Zephyr (plain C). See ads1220.h.
 * Ported from ADS1220_WE by Wolfgang (Wolle) Ewald.
 */
#include "ads1220.h"

#include <errno.h>
#include <zephyr/logging/log.h>

LOG_MODULE_REGISTER(ads1220, LOG_LEVEL_INF);

#define PRINTF_EN

#define ADS_TRY(expr)                 \
	do {                          \
		int _r = (expr);      \
		if (_r != 0) {        \
			return _r;    \
		}                     \
	} while (0)

/* ------------------------------------------------------------------ */
/* Low-level SPI helpers                                              */
/* ------------------------------------------------------------------ */

/* One CS-framed transaction. rx may be NULL (write only). */
static int xfer(const struct ads1220 *d, const uint8_t *tx, uint8_t *rx, size_t len)
{
	const struct spi_buf tx_buf = { .buf = (void *)tx, .len = len };
	const struct spi_buf_set tx_set = { .buffers = &tx_buf, .count = 1 };

	if (rx == NULL) {
		return spi_write_dt(&d->spi, &tx_set);
	}

	const struct spi_buf rx_buf = { .buf = rx, .len = len };
	const struct spi_buf_set rx_set = { .buffers = &rx_buf, .count = 1 };

	return spi_transceive_dt(&d->spi, &tx_set, &rx_set);
}

static int command(const struct ads1220 *d, uint8_t cmd)
{
	return xfer(d, &cmd, NULL, 1);
}

/* RREG: 0010 rrnn, nn = (number of registers - 1) = 0 -> one register */
int read_reg(const struct ads1220 *d, uint8_t reg, uint8_t *val)
{
	uint8_t tx[2] = { ADS1220_CMD_RREG | (reg << 2), 0x00 };
	uint8_t rx[2];
	int ret = xfer(d, tx, rx, sizeof(tx));

	if (ret == 0) {
		*val = rx[1];  /* rx[0] is clocked in while the command goes out */
	}
	return ret;
}

/* WREG: 0100 rrnn */
static int write_reg(const struct ads1220 *d, uint8_t reg, uint8_t val)
{
	uint8_t tx[2] = { ADS1220_CMD_WREG | (reg << 2), val };

	return xfer(d, tx, NULL, sizeof(tx));
}

/* Read-modify-write: replace only the bits in mask. */
static int update_reg(const struct ads1220 *d, uint8_t reg, uint8_t mask, uint8_t bits)
{
	uint8_t v;

	ADS_TRY(read_reg(d, reg, &v));
	v = (uint8_t)((v & ~mask) | (bits & mask));
	return write_reg(d, reg, v);
}

/* ------------------------------------------------------------------ */
/* DRDY handling                                                      */
/* ------------------------------------------------------------------ */

static void drdy_isr(const struct device *port, struct gpio_callback *cb, uint32_t pins)
{
	struct ads1220 *d = CONTAINER_OF(cb, struct ads1220, drdy_cb);

	ARG_UNUSED(port);
	ARG_UNUSED(pins);
	k_sem_give(&d->drdy_sem);
}

/*
 * DRDY is active-low (goes low when a conversion result is ready, returns
 * high after the read), so the devicetree entry must carry GPIO_ACTIVE_LOW.
 * If it is already asserted we return at once (same as the Arduino level
 * poll); otherwise sleep on the semaphore given by the falling-edge ISR.
 */
static int wait_drdy(struct ads1220 *d)
{
	if (d->drdy.port == NULL) {
		return -ENOTSUP;
	}
	if (gpio_pin_get_dt(&d->drdy) > 0) {
		return 0;
	}

	int ret = k_sem_take(&d->drdy_sem, K_MSEC(d->drdy_timeout_ms));

	return (ret == -EAGAIN) ? -ETIMEDOUT : ret;
}

/* ------------------------------------------------------------------ */
/* Internal helpers                                                   */
/* ------------------------------------------------------------------ */

/*
 * Single-ended inputs (AINx vs AVSS) and the supply monitors cannot use the
 * PGA: its inputs would leave their common-mode range. The datasheet forces
 * the PGA bypass for these muxes, and gain is then limited to 1, 2 or 4
 * (done by the modulator, not the PGA).
 */
static bool pga_must_be_bypassed(uint8_t mux)
{
	return (mux >= 0x80) && (mux <= 0xD0);
}

static int force_bypass_pga(const struct ads1220 *d)
{
	return update_reg(d, ADS1220_REG_0, 0x01, 0x01);
}

/* Reads the 24-bit conversion result (right-aligned in a uint32_t). */
static int read_result(struct ads1220 *d, uint32_t *raw24)
{
	uint8_t tx[3] = { 0 };
	uint8_t rx[3];

	if (d->conv_mode == ADS1220_SINGLE_SHOT && !d->non_blocking) {
		k_sem_reset(&d->drdy_sem);  /* drop a stale edge before converting */
		ADS_TRY(ads1220_start(d));
	}
	if (!d->non_blocking) {
		ADS_TRY(wait_drdy(d));
	}

	/* With DRDY low, the three bytes can be clocked out directly (no RDATA). */
	ADS_TRY(xfer(d, tx, rx, sizeof(tx)));
	k_sem_reset(&d->drdy_sem);

	*raw24 = ((uint32_t)rx[0] << 16) | ((uint32_t)rx[1] << 8) | rx[2];
	return 0;
}

/*
 * Reference monitor: the chip measures (REF)/4 against its internal 2.048 V,
 * so the average of 10 readings (in mV) times 4, converted to V, is the
 * reference voltage: sum / 10 * 4 / 1000 = sum * 4 / 10000.
 */
static int calibrate_vref(struct ads1220 *d, enum ads1220_vref src, enum ads1220_mux mux)
{
	bool prev_non_blocking = d->non_blocking;
	float sum = 0.0f;
	float mv;
	int ret;

	d->non_blocking = false;

	ret = ads1220_set_vref_source(d, src);
	if (ret == 0) {
		ret = ads1220_set_compare_channels(d, mux);
	}
	for (int i = 0; (ret == 0) && (i < 10); i++) {
		ret = ads1220_get_voltage_mv(d, &mv);
		sum += mv;
	}
	if (ret == 0) {
		d->vref = sum * 4.0f / 10000.0f;
	}

	d->non_blocking = prev_non_blocking;
	return ret;
}

/* ------------------------------------------------------------------ */
/* Commands                                                           */
/* ------------------------------------------------------------------ */

int ads1220_init(struct ads1220 *d)
{
	uint8_t ctrl;

	d->vref = 2.048f;
	d->gain = 1;
	d->ref_measurement = false;
	d->conv_mode = ADS1220_SINGLE_SHOT;
	d->no_bypass_pga = true;
	d->non_blocking = false;

	if (!spi_is_ready_dt(&d->spi)) {
		LOG_ERR("SPI bus not ready");
		return -ENODEV;
	}
    // printf("SPI ready\n");

	k_sem_init(&d->drdy_sem, 0, 1);
    // printf("k_sem_init\n");

	if (d->drdy.port != NULL) {
		if (!gpio_is_ready_dt(&d->drdy)) {
			LOG_ERR("DRDY GPIO not ready");
			return -ENODEV;
		}
        // printf("DRDY ready\n");
		ADS_TRY(gpio_pin_configure_dt(&d->drdy, GPIO_INPUT));
		gpio_init_callback(&d->drdy_cb, drdy_isr, BIT(d->drdy.pin));
        // printf("1\n");
		ADS_TRY(gpio_add_callback(d->drdy.port, &d->drdy_cb));
        // printf("2\n");
		ADS_TRY(gpio_pin_interrupt_configure_dt(&d->drdy, GPIO_INT_EDGE_TO_ACTIVE));
        // printf("3\n");
	}

	ADS_TRY(ads1220_reset(d));
    // printf("ADS1220 reset cmd\n");
	ADS_TRY(ads1220_start(d));
    // printf("ADS1220 start cmd\n");

	/*
	 * Presence test: after RESET register 0 is 0x00; setting the PGA bypass
	 * bit must read back as 0x01. A missing chip reads 0x00 or 0xFF.
	 */
	ADS_TRY(ads1220_bypass_pga(d, true));
	ADS_TRY(read_reg(d, ADS1220_REG_0, &ctrl));
    // printf("Read register 0\n");
	ADS_TRY(ads1220_bypass_pga(d, false));

	if (ctrl != 0x01) {
		LOG_ERR("ADS1220 not detected (reg0 = 0x%02x)", ctrl);
		return -ENODEV;
	}
	return 0;
}

int ads1220_start(struct ads1220 *d)
{
	return command(d, ADS1220_CMD_START);
}

int ads1220_reset(struct ads1220 *d)
{
	ADS_TRY(command(d, ADS1220_CMD_RESET));
	k_msleep(1);  /* datasheet: ~50 us + 32 clocks after RESET */

	/* RESET puts the registers back to defaults; keep the cached state in sync. */
	d->gain = 1;
	d->ref_measurement = false;
	d->conv_mode = ADS1220_SINGLE_SHOT;
	return 0;
}

int ads1220_power_down(struct ads1220 *d)
{
	return command(d, ADS1220_CMD_PWRDOWN);
}

/* ------------------------------------------------------------------ */
/* Configuration register 0                                           */
/* ------------------------------------------------------------------ */

int ads1220_set_compare_channels(struct ads1220 *d, enum ads1220_mux mux)
{
	uint8_t reg;

	if ((mux == ADS1220_MUX_REFPX_REFNX_4) || (mux == ADS1220_MUX_AVDD_M_AVSS_4)) {
		d->gain = 1;  /* gain is 1 by definition in the monitor modes */
		d->ref_measurement = true;
	} else {
		ADS_TRY(read_reg(d, ADS1220_REG_0, &reg));
		d->gain = 1U << ((reg & 0x0E) >> 1);
		d->ref_measurement = false;
	}

	/* Mux bits [7:4] and PGA-bypass bit [0]; bypass follows bypass_pga()'s choice. */
	ADS_TRY(update_reg(d, ADS1220_REG_0, 0xF1,
			   (uint8_t)mux | (d->no_bypass_pga ? 0x00 : 0x01)));

	if (pga_must_be_bypassed((uint8_t)mux)) {
		if (d->gain > 4) {
			d->gain = 4;
		}
		ADS_TRY(force_bypass_pga(d));
	}
	return 0;
}

int ads1220_set_gain(struct ads1220 *d, enum ads1220_gain gain)
{
	uint8_t reg;

	ADS_TRY(read_reg(d, ADS1220_REG_0, &reg));
	uint8_t mux = reg & 0xF0;

	reg = (uint8_t)((reg & ~0x0E) | gain);
	ADS_TRY(write_reg(d, ADS1220_REG_0, reg));

	d->gain = 1U << (gain >> 1);

	if (pga_must_be_bypassed(mux)) {
		if (d->gain > 4) {
			d->gain = 4;
		}
		ADS_TRY(force_bypass_pga(d));
	}
	return 0;
}

uint8_t ads1220_get_gain_factor(const struct ads1220 *d)
{
	return d->gain;
}

int ads1220_bypass_pga(struct ads1220 *d, bool bypass)
{
	d->no_bypass_pga = !bypass;
	return update_reg(d, ADS1220_REG_0, 0x01, bypass ? 0x01 : 0x00);
}

int ads1220_is_pga_bypassed(struct ads1220 *d, bool *bypassed)
{
	uint8_t reg;

	ADS_TRY(read_reg(d, ADS1220_REG_0, &reg));
	*bypassed = (reg & 0x01) != 0;
	return 0;
}

/* ------------------------------------------------------------------ */
/* Configuration register 1                                           */
/* ------------------------------------------------------------------ */

int ads1220_set_data_rate(struct ads1220 *d, enum ads1220_data_rate rate)
{
	return update_reg(d, ADS1220_REG_1, 0xE0, (uint8_t)rate);
}

int ads1220_set_operating_mode(struct ads1220 *d, enum ads1220_op_mode mode)
{
	return update_reg(d, ADS1220_REG_1, 0x18, (uint8_t)mode);
}

int ads1220_set_conversion_mode(struct ads1220 *d, enum ads1220_conv_mode mode)
{
	d->conv_mode = mode;
	return update_reg(d, ADS1220_REG_1, 0x04, (uint8_t)mode);
}

int ads1220_enable_temperature_sensor(struct ads1220 *d, bool enable)
{
	return update_reg(d, ADS1220_REG_1, 0x02, enable ? 0x02 : 0x00);
}

int ads1220_enable_burn_out_current_sources(struct ads1220 *d, bool enable)
{
	return update_reg(d, ADS1220_REG_1, 0x01, enable ? 0x01 : 0x00);
}

/* ------------------------------------------------------------------ */
/* Configuration register 2                                           */
/* ------------------------------------------------------------------ */

int ads1220_set_vref_source(struct ads1220 *d, enum ads1220_vref src)
{
	return update_reg(d, ADS1220_REG_2, 0xC0, (uint8_t)src);
}

int ads1220_set_fir_filter(struct ads1220 *d, enum ads1220_fir fir)
{
	return update_reg(d, ADS1220_REG_2, 0x30, (uint8_t)fir);
}

int ads1220_set_low_side_power_switch(struct ads1220 *d, enum ads1220_psw psw)
{
	return update_reg(d, ADS1220_REG_2, 0x08, (uint8_t)psw);
}

int ads1220_set_idac_current(struct ads1220 *d, enum ads1220_idac_current current)
{
	ADS_TRY(update_reg(d, ADS1220_REG_2, 0x07, (uint8_t)current));
	k_busy_wait(200);  /* let the current source settle */
	return 0;
}

/* ------------------------------------------------------------------ */
/* Configuration register 3                                           */
/* ------------------------------------------------------------------ */

int ads1220_set_idac1_routing(struct ads1220 *d, enum ads1220_idac_routing route)
{
	return update_reg(d, ADS1220_REG_3, 0xE0, (uint8_t)(route << 5));
}

int ads1220_set_idac2_routing(struct ads1220 *d, enum ads1220_idac_routing route)
{
	return update_reg(d, ADS1220_REG_3, 0x1C, (uint8_t)(route << 2));
}

int ads1220_set_drdy_mode(struct ads1220 *d, enum ads1220_drdy_mode mode)
{
	return update_reg(d, ADS1220_REG_3, 0x02, (uint8_t)mode);
}

/* ------------------------------------------------------------------ */
/* Reference / mode settings                                          */
/* ------------------------------------------------------------------ */

void ads1220_set_vref_value_v(struct ads1220 *d, float vref)
{
	d->vref = vref;
}

float ads1220_get_vref_v(const struct ads1220 *d)
{
	return d->vref;
}

void ads1220_set_non_blocking_mode(struct ads1220 *d, bool non_blocking)
{
	d->non_blocking = non_blocking;
	if (!non_blocking) {
		k_sem_reset(&d->drdy_sem);  /* discard edges seen while not waiting */
	}
}

bool ads1220_get_non_blocking_mode(const struct ads1220 *d)
{
	return d->non_blocking;
}

int ads1220_set_avdd_avss_as_vref_and_calibrate(struct ads1220 *d)
{
	return calibrate_vref(d, ADS1220_VREF_AVDD_AVSS, ADS1220_MUX_AVDD_M_AVSS_4);
}

int ads1220_set_refp0_refn0_as_vref_and_calibrate(struct ads1220 *d)
{
	return calibrate_vref(d, ADS1220_VREF_REFP0_REFN0, ADS1220_MUX_REFPX_REFNX_4);
}

int ads1220_set_refp1_refn1_as_vref_and_calibrate(struct ads1220 *d)
{
	return calibrate_vref(d, ADS1220_VREF_REFP1_REFN1, ADS1220_MUX_REFPX_REFNX_4);
}

int ads1220_set_int_vref(struct ads1220 *d)
{
	ADS_TRY(ads1220_set_vref_source(d, ADS1220_VREF_INT));
	d->vref = 2.048f;
	return 0;
}

/* ------------------------------------------------------------------ */
/* Results                                                            */
/* ------------------------------------------------------------------ */

int ads1220_get_raw_data(struct ads1220 *d, int32_t *raw)
{
	uint32_t r;

	ADS_TRY(read_result(d, &r));

	/* Sign-extend 24-bit two's complement without relying on signed shifts. */
	*raw = (int32_t)(r ^ 0x800000U) - 0x800000;
	return 0;
}

int ads1220_get_voltage_mv(struct ads1220 *d, float *mv)
{
	int32_t raw;

	ADS_TRY(ads1220_get_raw_data(d, &raw));

	/* In the reference-monitor modes the conversion uses the internal 2.048 V. */
	float vref = d->ref_measurement ? 2.048f : d->vref;

	*mv = ((float)raw / ADS1220_RANGE) * vref * 1000.0f / (float)d->gain;
	return 0;
}

int ads1220_get_voltage_uv(struct ads1220 *d, float *uv)
{
	float mv;

	ADS_TRY(ads1220_get_voltage_mv(d, &mv));
	*uv = mv * 1000.0f;
	return 0;
}

int ads1220_get_temperature(struct ads1220 *d, float *celsius)
{
	uint32_t r;

	ADS_TRY(ads1220_enable_temperature_sensor(d, true));
	int ret = read_result(d, &r);
	int ret_off = ads1220_enable_temperature_sensor(d, false);

	if (ret != 0) {
		return ret;
	}
	if (ret_off != 0) {
		return ret_off;
	}

	/* 14-bit two's complement, left-justified in the 24-bit result, 0.03125 C/LSB */
	int16_t t = (int16_t)((r >> 10) & 0x3FFF);

	if (t & 0x2000) {
		t -= 0x4000;
	}
	*celsius = (float)t * 0.03125f;
	return 0;
}
```

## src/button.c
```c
#include "button.h"
#include <zephyr/kernel.h>
#include <stdio.h>

static struct k_poll_signal button_sig;

void button_isr(const struct device *dev,
                struct gpio_callback *cb,
                uint32_t pins)
{
    k_poll_signal_raise(&button_sig, 0);
}

int button_init()
{
    int ret;

    /* Configure button pin as input */
    ret = gpio_pin_configure_dt(&button_spec, GPIO_INPUT);
    if (ret) {
        return ret;
    }

    /* Configure interrupt on button press */
    ret = gpio_pin_interrupt_configure_dt(&button_spec,
                                          GPIO_INT_EDGE_TO_ACTIVE);
    if (ret) {
        return ret;
    }

    /* Initialize and register callback */
    gpio_init_callback(&button_cb,
                       button_isr,
                       BIT(button_spec.pin));

    gpio_add_callback(button_spec.port, &button_cb);

    return 0;
}
```
